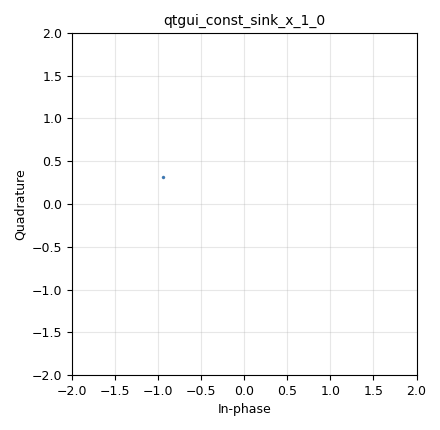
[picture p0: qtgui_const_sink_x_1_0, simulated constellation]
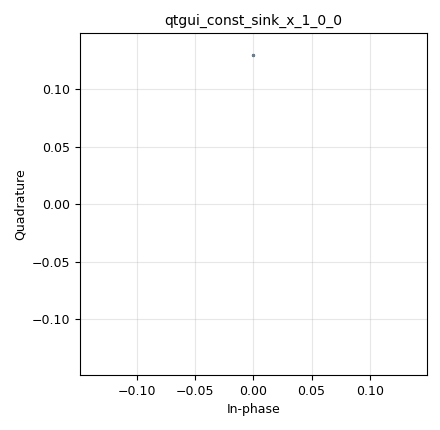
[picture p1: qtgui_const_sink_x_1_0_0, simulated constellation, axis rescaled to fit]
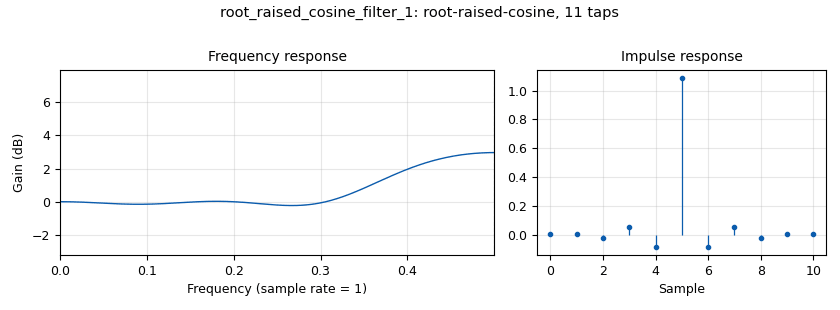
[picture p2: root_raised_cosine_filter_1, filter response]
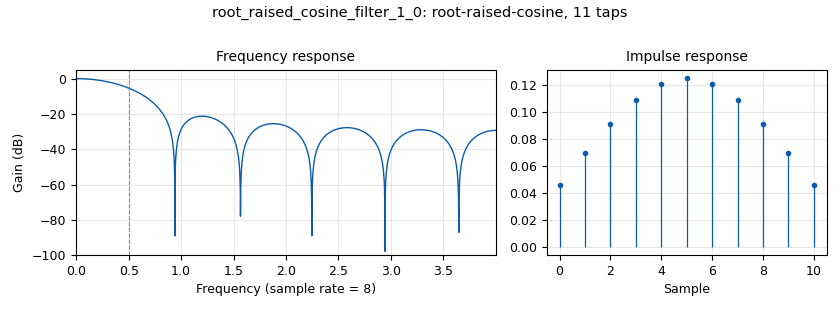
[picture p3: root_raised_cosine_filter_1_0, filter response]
options:
  parameters:
    generate_options: qt_gui
    id: transmitter
    max_nouts: '123'
    output_language: python
    title: Wireless digital transmitter
  states: {}

blocks:
- name: samp_rate
  id: variable
  parameters:
    value: '1'
  states: {}
- name: test_constellation
  id: variable_constellation
  parameters:
    npwr: '1'
    precision: '8'
    type: 16qam
  states: {}
- name: analog_random_uniform_source_x_0
  id: analog_random_uniform_source_x
  parameters:
    maximum: '16'
    maxoutbuf: '1'
    minimum: '0'
    seed: '0'
    type: byte
  states: {state: disabled}
- name: blocks_throttle2_0
  id: blocks_throttle2
  parameters:
    maxoutbuf: '1'
    samples_per_second: samp_rate
    type: byte
  states: {}
- name: blocks_uchar_to_float_0
  id: blocks_uchar_to_float
  parameters:
    maxoutbuf: '1'
  states: {}
- name: blocks_vector_source_x_0
  id: blocks_vector_source_x
  parameters:
    maxoutbuf: '1'
    repeat: 'True'
    type: byte
    vector: tuple(range(16))
  states: {}
- name: digital_chunks_to_symbols_xx_0
  id: digital_chunks_to_symbols_xx
  parameters:
    dimension: '2'
    in_type: byte
    out_type: complex
    symbol_table: '[-3 -3j, -1 -3j, 1 -3j, 3 -3j, -3 -1j, -1 -1j, 1 -1j, 3 -1j, -3 +1j, -1 +1j, 1 +1j, 3 +1j, -3 +3j, -1 +3j, 1 +3j, 3 +3j]'
  states: {state: disabled}
- name: digital_constellation_encoder_bc_0
  id: digital_constellation_encoder_bc
  parameters:
    constellation: test_constellation
    maxoutbuf: '1'
  states: {}
- name: digital_constellation_modulator_0
  id: digital_constellation_modulator
  parameters:
    constellation: test_constellation
    differential: 'False'
    excess_bw: '0.35'
    samples_per_symbol: '2'
  states: {state: disabled}
- name: qtgui_const_sink_x_0
  id: qtgui_const_sink_x
  parameters:
    autoscale: 'True'
    size: '1024'
    tr_mode: qtgui.TRIG_MODE_NORM
    type: complex
  states: {state: disabled}
- name: qtgui_const_sink_x_1
  id: qtgui_const_sink_x
  parameters:
    size: '1024'
    type: complex
  states: {state: disabled}
- name: qtgui_const_sink_x_1_0
  id: qtgui_const_sink_x
  parameters:
    size: '1'
    type: complex
  states: {}
- name: qtgui_const_sink_x_1_0_0
  id: qtgui_const_sink_x
  parameters:
    size: '1'
    type: complex
  states: {}
- name: qtgui_number_sink_0
  id: qtgui_number_sink
  parameters:
    graph_type: qtgui.NUM_GRAPH_NONE
    type: float
  states: {}
- name: qtgui_time_sink_x_0
  id: qtgui_time_sink_x
  parameters:
    size: '10'
    srate: samp_rate
    stemplot: 'True'
    type: float
    update_time: '0.02'
  states: {state: disabled}
- name: root_raised_cosine_filter_0
  id: root_raised_cosine_filter
  parameters:
    alpha: '0.35'
    decim: '2'
    gain: '1'
    ntaps: 11*samp_rate
    samp_rate: 2*samp_rate
    sym_rate: samp_rate
    type: fir_filter_ccf
  states: {state: disabled}
- name: root_raised_cosine_filter_1
  id: root_raised_cosine_filter
  parameters:
    alpha: '0.35'
    gain: '1'
    interp: '8'
    ntaps: 11*samp_rate
    samp_rate: samp_rate
    sym_rate: samp_rate
    type: interp_fir_filter_ccf
  states: {}
- name: root_raised_cosine_filter_1_0
  id: root_raised_cosine_filter
  parameters:
    alpha: '0.35'
    decim: '18'
    gain: '1'
    interp: '8'
    ntaps: 11*samp_rate
    samp_rate: 8*samp_rate
    sym_rate: samp_rate
    type: fir_filter_ccf
  states: {}

connections:
- [analog_random_uniform_source_x_0, '0', blocks_throttle2_0, '0']
- [blocks_throttle2_0, '0', blocks_uchar_to_float_0, '0']
- [blocks_throttle2_0, '0', digital_chunks_to_symbols_xx_0, '0']
- [blocks_throttle2_0, '0', digital_constellation_encoder_bc_0, '0']
- [blocks_throttle2_0, '0', digital_constellation_modulator_0, '0']
- [blocks_uchar_to_float_0, '0', qtgui_number_sink_0, '0']
- [blocks_uchar_to_float_0, '0', qtgui_time_sink_x_0, '0']
- [blocks_vector_source_x_0, '0', blocks_throttle2_0, '0']
- [digital_chunks_to_symbols_xx_0, '0', qtgui_const_sink_x_0, '0']
- [digital_constellation_encoder_bc_0, '0', qtgui_const_sink_x_1_0, '0']
- [digital_constellation_encoder_bc_0, '0', root_raised_cosine_filter_1, '0']
- [digital_constellation_modulator_0, '0', root_raised_cosine_filter_0, '0']
- [root_raised_cosine_filter_0, '0', qtgui_const_sink_x_1, '0']
- [root_raised_cosine_filter_1, '0', root_raised_cosine_filter_1_0, '0']
- [root_raised_cosine_filter_1_0, '0', qtgui_const_sink_x_1_0_0, '0']

metadata:
  file_format: 1
  grc_version: 3.10.11.0
